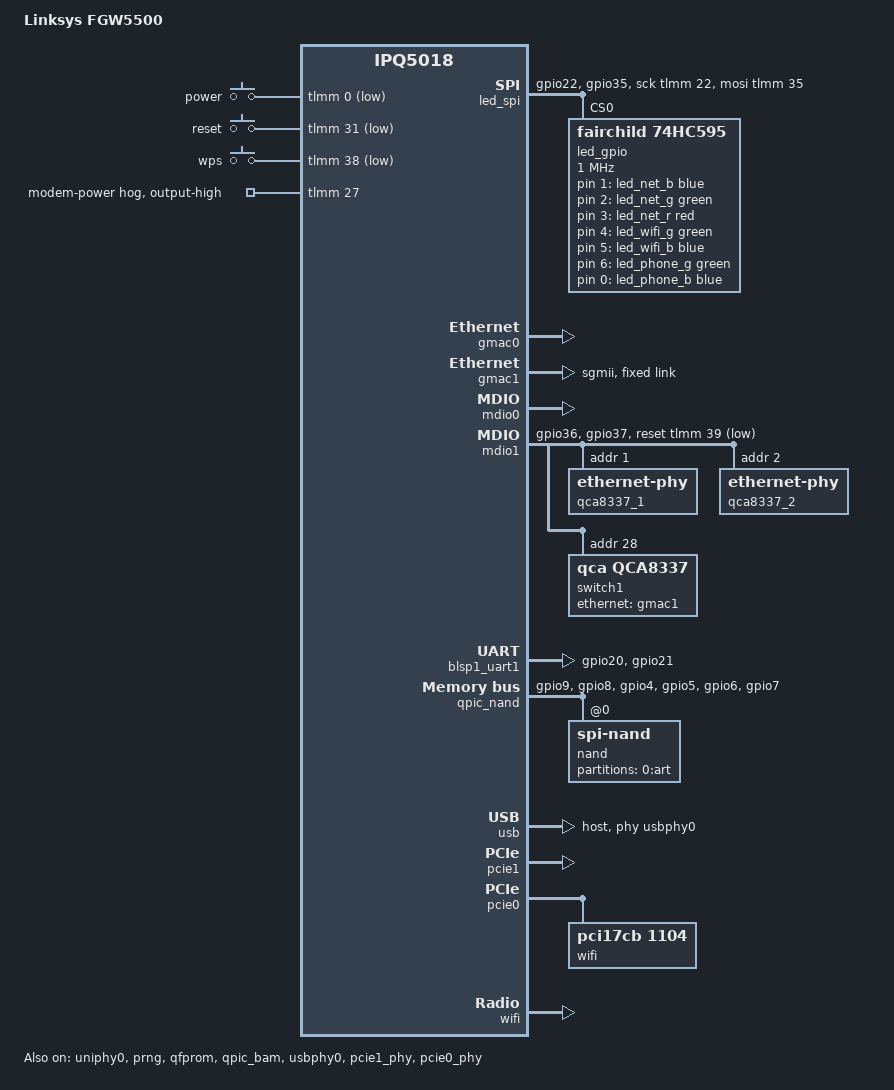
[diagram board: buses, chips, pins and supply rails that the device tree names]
// SPDX-License-Identifier: GPL-2.0-or-later OR MIT

/dts-v1/;

#include "ipq5018.dtsi"
#include "ipq5018-ess.dtsi"

#include <dt-bindings/gpio/gpio.h>
#include <dt-bindings/input/input.h>
#include <dt-bindings/leds/common.h>

/ {
	model = "Linksys FGW5500";
	compatible = "linksys,fgw5500", "qcom,ipq5018";

	aliases {
		led-boot = &led_net_b;
		led-failsafe = &led_net_r;
		led-running = &led_net_b;
		led-upgrade = &led_net_r;
		serial0 = &blsp1_uart1;
	};

	chosen {
		bootargs-append = " root=/dev/ubiblock0_1 swiotlb=1 coherent_pool=2M";
		stdout-path = "serial0:115200n8";
	};

	keys {
		compatible = "gpio-keys";
		pinctrl-0 = <&button_pins>;
		pinctrl-names = "default";

		button-power {
			label = "power";
			gpios = <&tlmm 0 GPIO_ACTIVE_LOW>;
			linux,code = <KEY_POWER>;
			debounce-interval = <60>;
		};

		button-reset {
			label = "reset";
			gpios = <&tlmm 31 GPIO_ACTIVE_LOW>;
			linux,code = <KEY_RESTART>;
			debounce-interval = <60>;
		};

		button-wps {
			label = "wps";
			gpios = <&tlmm 38 GPIO_ACTIVE_LOW>;
			linux,code = <KEY_WPS_BUTTON>;
			debounce-interval = <60>;
		};
	};

	/*
	 * The three front-panel LEDs (bottom: 5G/4G/ethernet/alarm,
	 * middle: WiFi, top: VoIP) are driven by an SN74HC595 shift
	 * register bit-banged over two GPIOs (SPI-GPIO, no chip select).
	 * Bit map as shipped in the stock device tree (register 0 is the
	 * first bit clocked out on QS0, then QS1 -> QS7):
	 *   bit0 = phone blue, bit1 = network blue, bit2 = network green,
	 *   bit3 = network red, bit4 = wifi green, bit5 = wifi blue,
	 *   bit6 = phone green, bit7 = unused.
	 */
	led_spi {
		compatible = "spi-gpio";
		pinctrl-0 = <&led_spi_pins>;
		pinctrl-names = "default";
		#address-cells = <1>;
		#size-cells = <0>;

		sck-gpios = <&tlmm 22 GPIO_ACTIVE_HIGH>;
		mosi-gpios = <&tlmm 35 GPIO_ACTIVE_HIGH>;

		led_gpio: led_gpio@0 {
			compatible = "fairchild,74hc595";
			reg = <0>;
			gpio-controller;
			#gpio-cells = <2>;
			registers-number = <1>;
			spi-max-frequency = <1000000>;
		};
	};

	leds {
		compatible = "gpio-leds";
		pinctrl-0 = <&led_spi_pins>;
		pinctrl-names = "default";

		/* Bottom LED: blue, links on 5G NSA/SA */
		led_net_b: led-net-blue {
			color = <LED_COLOR_ID_BLUE>;
			function = LED_FUNCTION_STATUS;
			gpios = <&led_gpio 1 GPIO_ACTIVE_HIGH>;
		};

		/* Bottom LED: green, links on LTE/3G or ethernet WAN */
		led_net_g: led-net-green {
			color = <LED_COLOR_ID_GREEN>;
			function = LED_FUNCTION_STATUS;
			gpios = <&led_gpio 2 GPIO_ACTIVE_HIGH>;
		};

		/* Bottom LED: red, alarm (system, no SIM, no network, failed boot) */
		led_net_r: led-net-red {
			color = <LED_COLOR_ID_RED>;
			function = LED_FUNCTION_STATUS;
			gpios = <&led_gpio 3 GPIO_ACTIVE_HIGH>;
		};

		/* Middle LED: green, WiFi on, LTE/3G WAN mode (blinking) */
		led_wifi_g: led-wifi-green {
			color = <LED_COLOR_ID_GREEN>;
			function = LED_FUNCTION_WLAN;
			gpios = <&led_gpio 4 GPIO_ACTIVE_HIGH>;
			/* stay off until hostapd turns the radio on */
			default-state = "off";
		};

		/* Middle LED: blue, WiFi on, 5G/ethernet WAN mode (blinking) */
		led_wifi_b: led-wifi-blue {
			color = <LED_COLOR_ID_BLUE>;
			function = LED_FUNCTION_WLAN;
			gpios = <&led_gpio 5 GPIO_ACTIVE_HIGH>;
			default-state = "off";
		};

		/* Top LED: green, VoIP (SIP/VoLTE) active */
		led_phone_g: led-phone-green {
			color = <LED_COLOR_ID_GREEN>;
			function = "phone";
			gpios = <&led_gpio 6 GPIO_ACTIVE_HIGH>;
		};

		/* Top LED: blue, VoIP (SIP/VoLTE) active */
		led_phone_b: led-phone-blue {
			color = <LED_COLOR_ID_BLUE>;
			function = "phone";
			gpios = <&led_gpio 0 GPIO_ACTIVE_HIGH>;
		};
	};
};

/*
 * =================================================================
 *     _______________________             _______________________
 *    |        IPQ5018        |           |        QCA8337        |
 *    | +------+   +--------+ |           | +--------+   +------+ |
 *    | | MAC0 |---| GE Phy | |           | |  Phy0  |---| MAC6 | |
 *    | +------+   +--------+ |           | +--------+   +------+ |
 *    | +------+   +--------+ |           | +--------+   +------+ |
 *    | | MAC1 |---| Uniphy |-+- SGMII ---+ | SerDes |---| MAC2 | |
 *    | +------+   +--------+ |           | +--------+   +------+ |
 *    |_______________________|           |_______________________|
 *
 * GMAC0 -> internal GE PHY (MDIO0, address 7) -> WAN RJ45.
 * GMAC1 -> UNIPHY0 SGMII -> QCA8337 CPU port -> LAN1/LAN2.
 * =================================================================
 */

&uniphy0 {
	status = "okay";

	assigned-clocks = <&uniphy0 UNIPHY_CLK_REF>;
	assigned-clock-rates = <UNIPHY_REFCLK_25MHZ>;
};

// MAC0 --- internal GE PHY (MDIO0 addr 7) --- WAN
&gmac0 {
	status = "okay";

	label = "wan";

	nvmem-cells = <&macaddr_gmac0 0>;
	nvmem-cell-names = "mac-address";
};

// MAC1 ---SGMII---> QCA8337 CPU port
&gmac1 {
	status = "okay";

	phy-mode = "sgmii";

	nvmem-cells = <&macaddr_gmac1 0>;
	nvmem-cell-names = "mac-address";

	fixed-link {
		speed = <1000>;
		full-duplex;
	};
};

&mdio0 {
	status = "okay";
};

&mdio1 {
	status = "okay";

	pinctrl-0 = <&mdio1_pins>;
	pinctrl-names = "default";
	reset-gpios = <&tlmm 39 GPIO_ACTIVE_LOW>;

	// QCA8337 Phy1 -> LAN2
	qca8337_1: ethernet-phy@1 {
		reg = <1>;
	};

	// QCA8337 Phy2 -> LAN1
	qca8337_2: ethernet-phy@2 {
		reg = <2>;
	};

	// QCA8337 switch (MDIO addr 0x1c)
	switch1: ethernet-switch@28 {
		compatible = "qca,qca8337";
		reg = <28>;
		#address-cells = <1>;
		#size-cells = <0>;

		ethernet-ports {
			#address-cells = <1>;
			#size-cells = <0>;

			switch1cpu: ethernet-port@0 {
				reg = <0>;
				label = "cpu";
				phy-mode = "sgmii";
				ethernet = <&gmac1>;
				qca,sgmii-enable-pll;

				fixed-link {
					speed = <1000>;
					full-duplex;
				};
			};

			/* Phy0/3/4 are not wired on this board: LAN1/LAN2 only */
			ethernet-port@1 {
				reg = <1>;
				phy-handle = <&qca8337_1>;

				leds {
					#address-cells = <1>;
					#size-cells = <0>;

					/* LAN2 green LED */
					led@0 {
						reg = <0>;
						color = <LED_COLOR_ID_GREEN>;
						function = LED_FUNCTION_LAN;
						default-state = "keep";
					};
				};
			};

			ethernet-port@2 {
				reg = <2>;
				phy-handle = <&qca8337_2>;

				leds {
					#address-cells = <1>;
					#size-cells = <0>;

					/* LAN1 green LED */
					led@0 {
						reg = <0>;
						color = <LED_COLOR_ID_GREEN>;
						function = LED_FUNCTION_LAN;
						default-state = "keep";
					};
				};
			};
		};
	};
};

&sleep_clk {
	clock-frequency = <32000>;
};

&xo_board_clk {
	clock-div = <4>;
	clock-mult = <1>;
};

&blsp1_uart1 {
	pinctrl-0 = <&serial_0_pins>;
	pinctrl-names = "default";

	status = "okay";
};

&prng {
	status = "okay";
};

&qfprom {
	status = "okay";
};

&qpic_bam {
	status = "okay";
};

&qpic_nand {
	pinctrl-0 = <&qpic_pins>;
	pinctrl-names = "default";

	status = "okay";

	nand@0 {
		compatible = "spi-nand";
		reg = <0>;

		nand-ecc-engine = <&qpic_nand>;
		nand-ecc-strength = <4>;
		nand-ecc-step-size = <512>;
		nand-bus-width = <8>;

		partitions {
			compatible = "qcom,smem-part";

			partition-0-art {
				label = "0:art";
				read-only;

				nvmem-layout {
					compatible = "fixed-layout";
					#address-cells = <1>;
					#size-cells = <1>;

					/*
					 * Stock firmware carries placeholder factory
					 * MACs in ART (00:03:7f:12:34:56..); the
					 * per-unit addresses live in the U-Boot
					 * environment (ethaddr/eth1addr). We read the
					 * ART "mac-base" cells as fallback only.
					 */
					macaddr_gmac0: macaddr@0 {
						compatible = "mac-base";
						#nvmem-cell-cells = <1>;
						reg = <0x0 0x6>;
					};

					macaddr_gmac1: macaddr@6 {
						compatible = "mac-base";
						#nvmem-cell-cells = <1>;
						reg = <0x6 0x6>;
					};

					caldata_ipq5018: calibration@1000 {
						reg = <0x1000 0x20000>;
					};

					caldata_qcn9074: calibration@26800 {
						reg = <0x26800 0x20000>;
					};
				};
			};
		};
	};
};

&tlmm {
	mdio1_pins: mdio-state {
		mdc-pins {
			pins = "gpio36";
			function = "mdc";
			drive-strength = <8>;
			bias-pull-up;
		};

		mdio-pins {
			pins = "gpio37";
			function = "mdio";
			drive-strength = <8>;
			bias-pull-up;
		};
	};

	led_spi_pins: led-spi-pins {
		pins = "gpio22", "gpio35";
		function = "gpio";
		drive-strength = <8>;
		bias-disable;
	};

	button_pins: button-pins {
		pins = "gpio0", "gpio31", "gpio38";
		function = "gpio";
		drive-strength = <8>;
		bias-pull-up;
	};

	qpic_pins: qpic-state {
		clock-pins {
			pins = "gpio9";
			function = "qspi_clk";
			drive-strength = <8>;
			bias-disable;
		};

		cs-pins {
			pins = "gpio8";
			function = "qspi_cs";
			drive-strength = <8>;
			bias-disable;
		};

		data-pins {
			pins = "gpio4", "gpio5", "gpio6", "gpio7";
			function = "qspi_data";
			drive-strength = <8>;
			bias-disable;
		};
	};

	serial_0_pins: uart0-state {
		rx-pins {
			pins = "gpio20";
			function = "blsp0_uart0";
			drive-strength = <8>;
			bias-pull-up;
		};

		tx-pins {
			pins = "gpio21";
			function = "blsp0_uart0";
			drive-strength = <8>;
			bias-disable;
		};
	};

	/* Modem control lines, driven high by the stock bootloader too */
	mdm-pins {
		gpio25-pin {
			pins = "gpio25";
			function = "gpio";
			drive-strength = <8>;
			bias-pull-up;
			output-high;
		};

		gpio32-pin {
			pins = "gpio32";
			function = "gpio";
			drive-strength = <8>;
			output-high;
		};
	};

	/* Modem power rail: no consumer, hold it high so the RM520N stays up */
	modem-power-hog {
		gpio-hog;
		gpios = <27 GPIO_ACTIVE_HIGH>;
		output-high;
		line-name = "modem-power";
	};
};

&usbphy0 {
	status = "okay";
};

&usb {
	#address-cells = <1>;
	#size-cells = <0>;

	phys = <&usbphy0>;
	phy-names = "usb2-phy";
	dr_mode = "host";
	qcom,select-utmi-as-pipe-clk;

	status = "okay";

	usb_port1: port@1 {
		reg = <1>;
		#trigger-source-cells = <0>;
	};
};

/* PCIe RC0 (pcie@80000000): Quectel RM520N-GL 5G modem in MHI mode */
&pcie1_phy {
	status = "okay";
};

&pcie1 {
	status = "okay";

	perst-gpios = <&tlmm 18 GPIO_ACTIVE_LOW>;
	wake-gpios = <&tlmm 19 GPIO_ACTIVE_HIGH>;
};

&pcie0_phy {
	status = "okay";
};

/* PCIe RC1 (pcie@a0000000): QCN9074 5 GHz radio */
&pcie0 {
	status = "okay";

	perst-gpios = <&tlmm 15 GPIO_ACTIVE_LOW>;

	pcie@0 {
		wifi@0,0 {
			status = "okay";

			/* QCN9074: ath11k lacks DT compatible for PCI cards */
			compatible = "pci17cb,1104";
			reg = <0x00010000 0 0 0 0>;

			qcom,calibration-variant = "Linksys-FGW5500";

			nvmem-cells = <&caldata_qcn9074>, <&macaddr_gmac1 3>;
			nvmem-cell-names = "calibration", "mac-address";
		};
	};
};

&q6v5_wcss {
	firmware-name = "ath11k/IPQ5018/hw1.0/q6_fw.mdt",
			"ath11k/IPQ5018/hw1.0/m3_fw.mdt";
};

&wifi {
	status = "okay";

	qcom,rproc = <&q6v5_wcss>;
	qcom,calibration-variant = "Linksys-FGW5500";
	qcom,ath11k-fw-memory-mode = <1>;

	nvmem-cells = <&caldata_ipq5018>, <&macaddr_gmac1 2>;
	nvmem-cell-names = "calibration", "mac-address";
};
